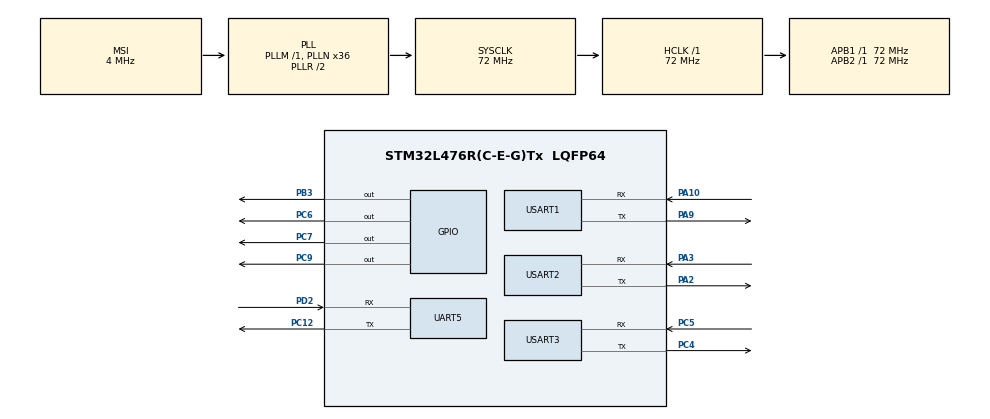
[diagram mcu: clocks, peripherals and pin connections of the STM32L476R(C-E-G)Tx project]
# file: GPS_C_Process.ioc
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Dma.Request0=USART1_RX
Dma.Request1=USART2_RX
Dma.Request2=USART3_RX
Dma.Request3=UART5_RX
Dma.UART5_RX.3.Direction=DMA_PERIPH_TO_MEMORY
Dma.UART5_RX.3.Instance=DMA2_Channel2
Dma.UART5_RX.3.MemDataAlignment=DMA_MDATAALIGN_BYTE
Dma.UART5_RX.3.MemInc=DMA_MINC_ENABLE
Dma.UART5_RX.3.Mode=DMA_NORMAL
Dma.UART5_RX.3.PeriphDataAlignment=DMA_PDATAALIGN_BYTE
Dma.UART5_RX.3.PeriphInc=DMA_PINC_DISABLE
Dma.UART5_RX.3.Priority=DMA_PRIORITY_LOW
Dma.USART1_RX.0.Direction=DMA_PERIPH_TO_MEMORY
Dma.USART1_RX.0.Instance=DMA1_Channel5
Dma.USART1_RX.0.MemDataAlignment=DMA_MDATAALIGN_BYTE
Dma.USART1_RX.0.MemInc=DMA_MINC_ENABLE
Dma.USART1_RX.0.Mode=DMA_NORMAL
Dma.USART1_RX.0.PeriphDataAlignment=DMA_PDATAALIGN_BYTE
Dma.USART1_RX.0.PeriphInc=DMA_PINC_DISABLE
Dma.USART1_RX.0.Priority=DMA_PRIORITY_HIGH
Dma.USART2_RX.1.Direction=DMA_PERIPH_TO_MEMORY
Dma.USART2_RX.1.Instance=DMA1_Channel6
Dma.USART2_RX.1.MemDataAlignment=DMA_MDATAALIGN_BYTE
Dma.USART2_RX.1.MemInc=DMA_MINC_ENABLE
Dma.USART2_RX.1.Mode=DMA_NORMAL
Dma.USART2_RX.1.PeriphDataAlignment=DMA_PDATAALIGN_BYTE
Dma.USART2_RX.1.PeriphInc=DMA_PINC_DISABLE
Dma.USART2_RX.1.Priority=DMA_PRIORITY_HIGH
Dma.USART3_RX.2.Direction=DMA_PERIPH_TO_MEMORY
Dma.USART3_RX.2.Instance=DMA1_Channel3
Dma.USART3_RX.2.MemDataAlignment=DMA_MDATAALIGN_BYTE
Dma.USART3_RX.2.MemInc=DMA_MINC_ENABLE
Dma.USART3_RX.2.Mode=DMA_NORMAL
Dma.USART3_RX.2.PeriphDataAlignment=DMA_PDATAALIGN_BYTE
Dma.USART3_RX.2.PeriphInc=DMA_PINC_DISABLE
Dma.USART3_RX.2.Priority=DMA_PRIORITY_HIGH
Mcu.Family=STM32L4
Mcu.Name=STM32L476R(C-E-G)Tx
Mcu.Package=LQFP64
NVIC.DMA1_Channel3_IRQn=true\:0\:0\:false\:false\:true\:false
NVIC.DMA1_Channel5_IRQn=true\:0\:0\:false\:false\:true\:false
NVIC.DMA1_Channel6_IRQn=true\:0\:0\:false\:false\:true\:false
NVIC.DMA2_Channel2_IRQn=true\:0\:0\:false\:false\:true\:false
NVIC.PriorityGroup=NVIC_PRIORITYGROUP_4
NVIC.UART5_IRQn=true\:0\:0\:false\:false\:true\:true
NVIC.USART1_IRQn=true\:0\:0\:false\:false\:true\:true
NVIC.USART2_IRQn=true\:0\:0\:false\:false\:true\:true
NVIC.USART3_IRQn=true\:0\:0\:false\:false\:true\:true
PA10.Mode=Asynchronous
PA10.Signal=USART1_RX
PA13\ (JTMS-SWDIO).Mode=Serial_Wire
PA13\ (JTMS-SWDIO).Signal=SYS_JTMS-SWDIO
PA14\ (JTCK-SWCLK).Mode=Serial_Wire
PA14\ (JTCK-SWCLK).Signal=SYS_JTCK-SWCLK
PA2.Mode=Asynchronous
PA2.Signal=USART2_TX
PA3.Mode=Asynchronous
PA3.Signal=USART2_RX
PA9.Mode=Asynchronous
PA9.Signal=USART1_TX
PB3\ (JTDO-TRACESWO).Signal=GPIO_Output
PC12.Mode=Asynchronous
PC12.Signal=UART5_TX
PC14-OSC32_IN\ (PC14).Mode=LSE-External-Oscillator
PC14-OSC32_IN\ (PC14).Signal=RCC_OSC32_IN
PC15-OSC32_OUT\ (PC15).Mode=LSE-External-Oscillator
PC15-OSC32_OUT\ (PC15).Signal=RCC_OSC32_OUT
PC4.Mode=Asynchronous
PC4.Signal=USART3_TX
PC5.Mode=Asynchronous
PC5.Signal=USART3_RX
PC6.Signal=GPIO_Output
PC7.Signal=GPIO_Output
PC9.Signal=GPIO_Output
PD2.Mode=Asynchronous
PD2.Signal=UART5_RX
PH0-OSC_IN\ (PH0).Mode=HSE-External-Oscillator
PH0-OSC_IN\ (PH0).Signal=RCC_OSC_IN
PH1-OSC_OUT\ (PH1).Mode=HSE-External-Oscillator
PH1-OSC_OUT\ (PH1).Signal=RCC_OSC_OUT
ProjectManager.HeapSize=0x200
ProjectManager.StackSize=0x400
ProjectManager.TargetToolchain=MDK-ARM V5
RCC.ADCFreq_Value=16000000
RCC.AHBFreq_Value=72000000
RCC.APB1Freq_Value=72000000
RCC.APB1TimFreq_Value=72000000
RCC.APB2Freq_Value=72000000
RCC.APB2TimFreq_Value=72000000
RCC.CortexFreq_Value=72000000
RCC.HCLKFreq_Value=72000000
RCC.HSE_VALUE=8000000
RCC.HSI_VALUE=16000000
RCC.MSI_VALUE=4000000
RCC.PLLN=36
RCC.SYSCLKFreq_VALUE=72000000
RCC.SYSCLKSource=RCC_SYSCLKSOURCE_PLLCLK
RCC.USBFreq_Value=16000000
RCC.VCOOutputFreq_Value=144000000
USART1.VirtualMode-Asynchronous=VM_ASYNC
USART2.VirtualMode-Asynchronous=VM_ASYNC
USART3.VirtualMode-Asynchronous=VM_ASYNC
board=custom

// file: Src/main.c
/* USER CODE BEGIN Header */
/**
  ******************************************************************************
  * @file           : main.c
  * @brief          : Main program body
  ******************************************************************************
  ** This notice applies to any and all portions of this file
  * that are not between comment pairs USER CODE BEGIN and
  * USER CODE END. Other portions of this file, whether
  * inserted by the user or by software development tools
  * are owned by their respective copyright owners.
  *
  * COPYRIGHT(c) 2019 STMicroelectronics
  *
  * Redistribution and use in source and binary forms, with or without modification,
  * are permitted provided that the following conditions are met:
  *   1. Redistributions of source code must retain the above copyright notice,
  *      this list of conditions and the following disclaimer.
  *   2. Redistributions in binary form must reproduce the above copyright notice,
  *      this list of conditions and the following disclaimer in the documentation
  *      and/or other materials provided with the distribution.
  *   3. Neither the name of STMicroelectronics nor the names of its contributors
  *      may be used to endorse or promote products derived from this software
  *      without specific prior written permission.
  *
  * THIS SOFTWARE IS PROVIDED BY THE COPYRIGHT HOLDERS AND CONTRIBUTORS "AS IS"
  * AND ANY EXPRESS OR IMPLIED WARRANTIES, INCLUDING, BUT NOT LIMITED TO, THE
  * IMPLIED WARRANTIES OF MERCHANTABILITY AND FITNESS FOR A PARTICULAR PURPOSE ARE
  * DISCLAIMED. IN NO EVENT SHALL THE COPYRIGHT HOLDER OR CONTRIBUTORS BE LIABLE
  * FOR ANY DIRECT, INDIRECT, INCIDENTAL, SPECIAL, EXEMPLARY, OR CONSEQUENTIAL
  * DAMAGES (INCLUDING, BUT NOT LIMITED TO, PROCUREMENT OF SUBSTITUTE GOODS OR
  * SERVICES; LOSS OF USE, DATA, OR PROFITS; OR BUSINESS INTERRUPTION) HOWEVER
  * CAUSED AND ON ANY THEORY OF LIABILITY, WHETHER IN CONTRACT, STRICT LIABILITY,
  * OR TORT (INCLUDING NEGLIGENCE OR OTHERWISE) ARISING IN ANY WAY OUT OF THE USE
  * OF THIS SOFTWARE, EVEN IF ADVISED OF THE POSSIBILITY OF SUCH DAMAGE.
  *
  ******************************************************************************
  */
/* USER CODE END Header */

#include "main.h"

/* USER CODE BEGIN Includes */
#include <string.h>
#include <stdlib.h>
#include <stdarg.h>
#include <stdio.h>
#include <ctype.h>
#include "fifo.h"
#include "nmea.h"
/* USER CODE END Includes */

/* USER CODE BEGIN PD */
#define ENABLED_DEBUG
#define DEBUG_MAX_CHAR_PRINT	256
#define UART5_FIFO_TX_SIZE                                1024
#define UART5_FIFO_RX_SIZE                                1024
#define TIME_SEND_UART           500

/* USER CODE END PD */

UART_HandleTypeDef huart5;
UART_HandleTypeDef huart1;
UART_HandleTypeDef huart2;
UART_HandleTypeDef huart3;
DMA_HandleTypeDef hdma_uart5_rx;
DMA_HandleTypeDef hdma_usart1_rx;
DMA_HandleTypeDef hdma_usart2_rx;
DMA_HandleTypeDef hdma_usart3_rx;

/* USER CODE BEGIN PV */
char UART5_RX_DATA;
char UART1_RX_DATA;
char UART2_RX_DATA;
char UART3_RX_DATA;
uint8_t Uart5TxBuffer[UART5_FIFO_TX_SIZE];
uint8_t Uart5RxBuffer[UART5_FIFO_RX_SIZE];
Fifo_t FifoTx;
Fifo_t FifoRx;
//char Config_data[2], Config_Buffer[100];
/* USER CODE END PV */

void SystemClock_Config(void);
static void MX_GPIO_Init(void);
static void MX_DMA_Init(void);
static void MX_USART1_UART_Init(void);
static void MX_USART2_UART_Init(void);
static void MX_USART3_UART_Init(void);
static void MX_UART5_Init(void);
/* USER CODE BEGIN PFP */

void HAL_UART_RxCpltCallback(UART_HandleTypeDef *huart)
{
	__HAL_UART_FLUSH_DRREGISTER(huart);
	if(huart->Instance == UART5)
	{
		//DEBUG_D("\%c", UART5_RX_DATA);
		if(IsFifoFull(&FifoRx) == false)
		{
			FifoPush(&FifoRx, UART5_RX_DATA);
		}
		HAL_UART_Receive_IT(&huart5, (uint8_t*)&UART5_RX_DATA,1);
	}
}

/* USER CODE END PFP */

int main(void)
{

  /* MCU Configuration--------------------------------------------------------*/

  /* Reset of all peripherals, Initializes the Flash interface and the Systick. */
  HAL_Init();

  /* Configure the system clock */
  SystemClock_Config();

  /* Initialize all configured peripherals */
  MX_GPIO_Init();
  MX_DMA_Init();
//  MX_USART1_UART_Init();
//  MX_USART2_UART_Init();
//  MX_USART3_UART_Init();
//  MX_UART5_Init();
  /* USER CODE BEGIN 2 */
	HW_UART1_Init();
	HW_UART2_Init();
	HW_UART3_Init();
	HW_UART5_Init();
	FifoInit( &FifoTx, Uart5TxBuffer, UART5_FIFO_TX_SIZE );
    FifoInit( &FifoRx, Uart5RxBuffer, UART5_FIFO_RX_SIZE );
	DEBUG_D("\n==========GPS-TEST-AGAIN-=============\n");
	HAL_GPIO_WritePin(GPIOB, GPIO_PIN_3, GPIO_PIN_SET);
 	char c;
	uint8_t cnt = 0, index = 0, res = 0;
	char NMEAString[256];
	memset(NMEAString, 0, 256); // refresh buffer string
  /* USER CODE END 2 */

  /* Infinite loop */
  while (1)
  {

    /* USER CODE BEGIN 3 */

//	if(IsFifoEmpty(&FifoRx) == true) // check fifo empty
//		return res;

	c = FifoPop(&FifoRx);
	if(c == '$')
	{
	  cnt = 0;
	  NMEAString[index] = c;
	  while(c != '\r' && cnt++ < 200) // chong tran bo dem
	  {
		  c = FifoPop(&FifoRx);
		  if(c != '$')
		  {
			  NMEAString[++index] = c;
		  }
		  else break;
	  }
	  NMEAString[++index] = '\n';
	  NMEAString[++index] = '\0';
	  index = 0;
	  c = '\0';

	  // debug
	  DEBUG_D("\nNMEA: %s", NMEAString);
	  // parse msg and update system infor variables
	  res = parseGPSStr((unsigned char *) NMEAString);
	  HAL_Delay(1000);
	  memset(NMEAString, 0, 256); // clear buffer string
	}
}
  /* USER CODE END 3 */
}

void SystemClock_Config(void)
{
  RCC_OscInitTypeDef RCC_OscInitStruct = {0};
  RCC_ClkInitTypeDef RCC_ClkInitStruct = {0};
  RCC_PeriphCLKInitTypeDef PeriphClkInit = {0};

  /**Configure LSE Drive Capability
  */
  HAL_PWR_EnableBkUpAccess();
  __HAL_RCC_LSEDRIVE_CONFIG(RCC_LSEDRIVE_LOW);
  /**Initializes the CPU, AHB and APB busses clocks
  */
  RCC_OscInitStruct.OscillatorType = RCC_OSCILLATORTYPE_LSE|RCC_OSCILLATORTYPE_MSI;
  RCC_OscInitStruct.LSEState = RCC_LSE_ON;
  RCC_OscInitStruct.MSIState = RCC_MSI_ON;
  RCC_OscInitStruct.MSICalibrationValue = 0;
  RCC_OscInitStruct.MSIClockRange = RCC_MSIRANGE_6;
  RCC_OscInitStruct.PLL.PLLState = RCC_PLL_ON;
  RCC_OscInitStruct.PLL.PLLSource = RCC_PLLSOURCE_MSI;
  RCC_OscInitStruct.PLL.PLLM = 1;
  RCC_OscInitStruct.PLL.PLLN = 36;
  RCC_OscInitStruct.PLL.PLLP = RCC_PLLP_DIV7;
  RCC_OscInitStruct.PLL.PLLQ = RCC_PLLQ_DIV2;
  RCC_OscInitStruct.PLL.PLLR = RCC_PLLR_DIV2;
  if (HAL_RCC_OscConfig(&RCC_OscInitStruct) != HAL_OK)
  {
    Error_Handler();
  }
  /**Initializes the CPU, AHB and APB busses clocks
  */
  RCC_ClkInitStruct.ClockType = RCC_CLOCKTYPE_HCLK|RCC_CLOCKTYPE_SYSCLK
                              |RCC_CLOCKTYPE_PCLK1|RCC_CLOCKTYPE_PCLK2;
  RCC_ClkInitStruct.SYSCLKSource = RCC_SYSCLKSOURCE_PLLCLK;
  RCC_ClkInitStruct.AHBCLKDivider = RCC_SYSCLK_DIV1;
  RCC_ClkInitStruct.APB1CLKDivider = RCC_HCLK_DIV1;
  RCC_ClkInitStruct.APB2CLKDivider = RCC_HCLK_DIV1;

  if (HAL_RCC_ClockConfig(&RCC_ClkInitStruct, FLASH_LATENCY_4) != HAL_OK)
  {
    Error_Handler();
  }
  PeriphClkInit.PeriphClockSelection = RCC_PERIPHCLK_USART1|RCC_PERIPHCLK_USART2
                              |RCC_PERIPHCLK_USART3|RCC_PERIPHCLK_UART5;
  PeriphClkInit.Usart1ClockSelection = RCC_USART1CLKSOURCE_PCLK2;
  PeriphClkInit.Usart2ClockSelection = RCC_USART2CLKSOURCE_PCLK1;
  PeriphClkInit.Usart3ClockSelection = RCC_USART3CLKSOURCE_PCLK1;
  PeriphClkInit.Uart5ClockSelection = RCC_UART5CLKSOURCE_PCLK1;
  if (HAL_RCCEx_PeriphCLKConfig(&PeriphClkInit) != HAL_OK)
  {
    Error_Handler();
  }
  /**Configure the main internal regulator output voltage
  */
  if (HAL_PWREx_ControlVoltageScaling(PWR_REGULATOR_VOLTAGE_SCALE1) != HAL_OK)
  {
    Error_Handler();
  }
  /**Enable MSI Auto calibration
  */
  HAL_RCCEx_EnableMSIPLLMode();
}

static void MX_UART5_Init(void)
{

  huart5.Instance = UART5;
  huart5.Init.BaudRate = 9600;
  huart5.Init.WordLength = UART_WORDLENGTH_8B;
  huart5.Init.StopBits = UART_STOPBITS_1;
  huart5.Init.Parity = UART_PARITY_NONE;
  huart5.Init.Mode = UART_MODE_TX_RX;
  huart5.Init.HwFlowCtl = UART_HWCONTROL_NONE;
  huart5.Init.OverSampling = UART_OVERSAMPLING_16;
  huart5.Init.OneBitSampling = UART_ONE_BIT_SAMPLE_DISABLE;
  huart5.AdvancedInit.AdvFeatureInit = UART_ADVFEATURE_NO_INIT;
  if (HAL_UART_Init(&huart5) != HAL_OK)
  {
    Error_Handler();
  }

}

static void MX_USART1_UART_Init(void)
{

  huart1.Instance = USART1;
  huart1.Init.BaudRate = 115200;
  huart1.Init.WordLength = UART_WORDLENGTH_8B;
  huart1.Init.StopBits = UART_STOPBITS_1;
  huart1.Init.Parity = UART_PARITY_NONE;
  huart1.Init.Mode = UART_MODE_TX_RX;
  huart1.Init.HwFlowCtl = UART_HWCONTROL_NONE;
  huart1.Init.OverSampling = UART_OVERSAMPLING_16;
  huart1.Init.OneBitSampling = UART_ONE_BIT_SAMPLE_DISABLE;
  huart1.AdvancedInit.AdvFeatureInit = UART_ADVFEATURE_NO_INIT;
  if (HAL_UART_Init(&huart1) != HAL_OK)
  {
    Error_Handler();
  }

}

static void MX_USART2_UART_Init(void)
{

  huart2.Instance = USART2;
  huart2.Init.BaudRate = 115200;
  huart2.Init.WordLength = UART_WORDLENGTH_8B;
  huart2.Init.StopBits = UART_STOPBITS_1;
  huart2.Init.Parity = UART_PARITY_NONE;
  huart2.Init.Mode = UART_MODE_TX_RX;
  huart2.Init.HwFlowCtl = UART_HWCONTROL_NONE;
  huart2.Init.OverSampling = UART_OVERSAMPLING_16;
  huart2.Init.OneBitSampling = UART_ONE_BIT_SAMPLE_DISABLE;
  huart2.AdvancedInit.AdvFeatureInit = UART_ADVFEATURE_NO_INIT;
  if (HAL_UART_Init(&huart2) != HAL_OK)
  {
    Error_Handler();
  }

}

static void MX_USART3_UART_Init(void)
{

  huart3.Instance = USART3;
  huart3.Init.BaudRate = 115200;
  huart3.Init.WordLength = UART_WORDLENGTH_8B;
  huart3.Init.StopBits = UART_STOPBITS_1;
  huart3.Init.Parity = UART_PARITY_NONE;
  huart3.Init.Mode = UART_MODE_TX_RX;
  huart3.Init.HwFlowCtl = UART_HWCONTROL_NONE;
  huart3.Init.OverSampling = UART_OVERSAMPLING_16;
  huart3.Init.OneBitSampling = UART_ONE_BIT_SAMPLE_DISABLE;
  huart3.AdvancedInit.AdvFeatureInit = UART_ADVFEATURE_NO_INIT;
  if (HAL_UART_Init(&huart3) != HAL_OK)
  {
    Error_Handler();
  }

}

static void MX_DMA_Init(void)
{
  /* DMA controller clock enable */
  __HAL_RCC_DMA1_CLK_ENABLE();
  __HAL_RCC_DMA2_CLK_ENABLE();

  /* DMA interrupt init */
  /* DMA1_Channel3_IRQn interrupt configuration */
  HAL_NVIC_SetPriority(DMA1_Channel3_IRQn, 0, 0);
  HAL_NVIC_EnableIRQ(DMA1_Channel3_IRQn);
  /* DMA1_Channel5_IRQn interrupt configuration */
  HAL_NVIC_SetPriority(DMA1_Channel5_IRQn, 0, 0);
  HAL_NVIC_EnableIRQ(DMA1_Channel5_IRQn);
  /* DMA1_Channel6_IRQn interrupt configuration */
  HAL_NVIC_SetPriority(DMA1_Channel6_IRQn, 0, 0);
  HAL_NVIC_EnableIRQ(DMA1_Channel6_IRQn);
  /* DMA2_Channel2_IRQn interrupt configuration */
  HAL_NVIC_SetPriority(DMA2_Channel2_IRQn, 0, 0);
  HAL_NVIC_EnableIRQ(DMA2_Channel2_IRQn);

}

static void MX_GPIO_Init(void)
{
  GPIO_InitTypeDef GPIO_InitStruct = {0};

  /* GPIO Ports Clock Enable */
  __HAL_RCC_GPIOC_CLK_ENABLE();
  __HAL_RCC_GPIOH_CLK_ENABLE();
  __HAL_RCC_GPIOA_CLK_ENABLE();
  __HAL_RCC_GPIOD_CLK_ENABLE();
  __HAL_RCC_GPIOB_CLK_ENABLE();

  /*Configure GPIO pin Output Level */
  HAL_GPIO_WritePin(GPIOC, GPIO_PIN_6|GPIO_PIN_7|GPIO_PIN_9, GPIO_PIN_RESET);

  /*Configure GPIO pin Output Level */
  HAL_GPIO_WritePin(GPIOB, GPIO_PIN_3, GPIO_PIN_RESET);

  /*Configure GPIO pins : PC6 PC7 PC9 */
  GPIO_InitStruct.Pin = GPIO_PIN_6|GPIO_PIN_7|GPIO_PIN_9;
  GPIO_InitStruct.Mode = GPIO_MODE_OUTPUT_PP;
  GPIO_InitStruct.Pull = GPIO_NOPULL;
  GPIO_InitStruct.Speed = GPIO_SPEED_FREQ_LOW;
  HAL_GPIO_Init(GPIOC, &GPIO_InitStruct);

  /*Configure GPIO pin : PB3 */
  GPIO_InitStruct.Pin = GPIO_PIN_3;
  GPIO_InitStruct.Mode = GPIO_MODE_OUTPUT_PP;
  GPIO_InitStruct.Pull = GPIO_NOPULL;
  GPIO_InitStruct.Speed = GPIO_SPEED_FREQ_LOW;
  HAL_GPIO_Init(GPIOB, &GPIO_InitStruct);

}

/* USER CODE BEGIN 4 */

// UART5
void HW_UART5_Init(void)
{
	MX_UART5_Init();
	__HAL_UART_FLUSH_DRREGISTER(&huart5);
	HAL_UART_Receive_IT(&huart5, (uint8_t *)&UART5_RX_DATA, 1);
}
void HW_UART5_DeInit(void)
{
	HAL_UART_DeInit(&huart5);
}
void HW_UART5_Send(const char* buf, int len)
{
	HAL_UART_Transmit(&huart5, (uint8_t *) buf, len, TIME_SEND_UART);
}

/// USART 1
void HW_UART1_Init(void)
{
	MX_USART1_UART_Init();
	__HAL_UART_FLUSH_DRREGISTER(&huart1);
	HAL_UART_Receive_IT(&huart1, (uint8_t *)&UART1_RX_DATA, 1);
}
void HW_UART1_DeInit(void)
{
	HAL_UART_DeInit(&huart1);
}
void HW_UART1_Send(const char* buf, int len)
{
	HAL_UART_Transmit(&huart1, (uint8_t *) buf, len, TIME_SEND_UART);
}

/// USART 2
void HW_UART2_Init(void)
{
	MX_USART2_UART_Init();
	__HAL_UART_FLUSH_DRREGISTER(&huart2);
	HAL_UART_Receive_IT(&huart2, (uint8_t *)&UART2_RX_DATA, 1);
}
void HW_UART2_DeInit(void)
{
	HAL_UART_DeInit(&huart2);
}
void HW_UART2_Send(const char* buf, int len)
{
	HAL_UART_Transmit(&huart2, (uint8_t *) buf, len, TIME_SEND_UART);
}

/// USART 3
void HW_UART3_Init(void)
{
	MX_USART3_UART_Init();
	__HAL_UART_FLUSH_DRREGISTER(&huart3);
	HAL_UART_Receive_IT(&huart3, (uint8_t *)&UART3_RX_DATA, 1);
}
void HW_UART3_DeInit(void)
{
	HAL_UART_DeInit(&huart3);
}
void HW_UART3_Send(const char* buf, int len)
{
	HAL_UART_Transmit(&huart3, (uint8_t *) buf, len, TIME_SEND_UART);
}

void DEBUG_D(const char* format, ...)
{
	#ifdef ENABLED_DEBUG
	char buffer[DEBUG_MAX_CHAR_PRINT];
	int len;
	va_list vArgs;
	va_start(vArgs, format);
	len = vsprintf((char *)&buffer[0], (char const *)format, vArgs);
	va_end(vArgs);
	if(len >= DEBUG_MAX_CHAR_PRINT) len = DEBUG_MAX_CHAR_PRINT;
	HW_UART1_Send(buffer, len);
	#endif
}

/* USER CODE END 4 */

void Error_Handler(void)
{
}

/************************ (C) COPYRIGHT STMicroelectronics *****END OF FILE****/
